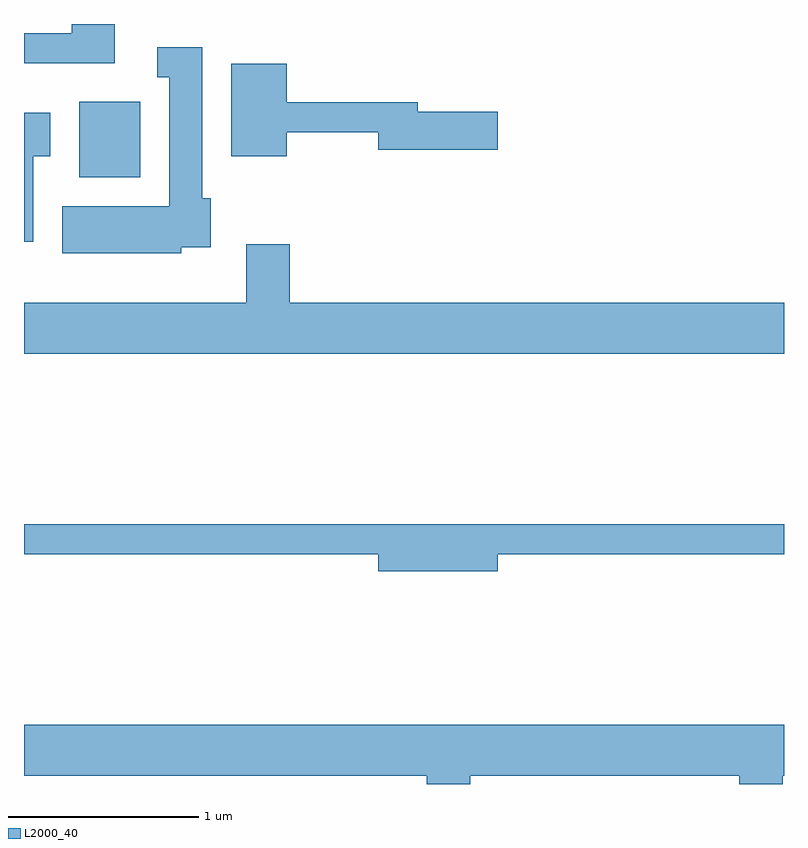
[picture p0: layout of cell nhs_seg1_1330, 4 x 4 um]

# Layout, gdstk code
import gdstk
lib = gdstk.Library(unit=1e-6, precision=1e-09)
def R(c, l, rs):  # rectangles x0, y0, x1, y1
    for r in rs: c.add(gdstk.rectangle(r[:2], r[2:], *l))
def P(c, l, *ps):  # polygons
    for p in ps: c.add(gdstk.Polygon(p, *l))
L2000_40 = (2000, 40)

nhs_seg1_1330 = lib.new_cell('nhs_seg1_1330')
R(nhs_seg1_1330, L2000_40, [(225.901,944.906,226.224,945.304)])
P(nhs_seg1_1330, L2000_40, [(226.089,945.712),(225.861,945.712),(225.861,945.664),(225.611,945.664),(225.611,945.506),(226.089,945.506)],
  [(226.439,944.536),(226.594,944.536),(226.594,944.794),(226.549,944.794),(226.549,945.589),(226.313,945.589),(226.313,945.431),(226.376,945.431),(226.376,944.754),(225.811,944.754),(225.811,944.506),(226.439,944.506)],
  [(226.994,945.141),(227.476,945.141),(227.476,945.051),(228.104,945.051),(228.104,945.249),(227.684,945.249),(227.684,945.299),(226.994,945.299),(226.994,945.504),(226.701,945.504),(226.701,945.016),(226.994,945.016)],
  [(225.659,945.016),(225.749,945.016),(225.749,945.244),(225.611,945.244),(225.611,944.566),(225.659,944.566)],
  [(229.611,944.244),(227.009,944.244),(227.009,944.554),(226.781,944.554),(226.781,944.244),(225.611,944.244),(225.611,943.976),(229.611,943.976)],
  [(228.104,942.921),(229.611,942.921),(229.611,943.079),(225.611,943.079),(225.611,942.921),(227.476,942.921),(227.476,942.831),(228.104,942.831)],
  [(227.959,941.756),(229.376,941.756),(229.376,941.712),(229.604,941.712),(229.604,941.756),(229.611,941.756),(229.611,942.024),(225.611,942.024),(225.611,941.756),(227.731,941.756),(227.731,941.712),(227.959,941.712)])

lib.write_gds('nhs_seg1_1330.gds')
